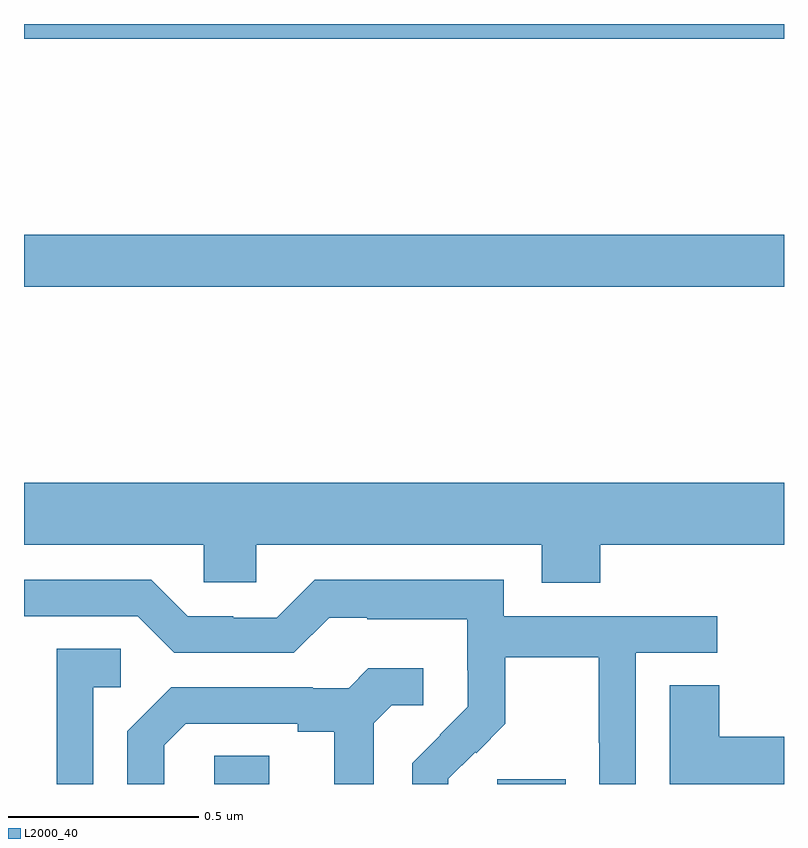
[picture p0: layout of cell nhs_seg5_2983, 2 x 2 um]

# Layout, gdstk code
import gdstk
lib = gdstk.Library(unit=1e-6, precision=1e-09)
def R(c, l, rs):  # rectangles x0, y0, x1, y1
    for r in rs: c.add(gdstk.rectangle(r[:2], r[2:], *l))
def P(c, l, *ps):  # polygons
    for p in ps: c.add(gdstk.Polygon(p, *l))
L2000_40 = (2000, 40)

nhs_seg5_2983 = lib.new_cell('nhs_seg5_2983')
R(nhs_seg5_2983, L2000_40, [(151.5,854.799,151.645,854.873), (152.246,854.799,152.425,854.811), (151,856.108,153,856.244), (151,856.76,153,856.799)])
P(nhs_seg5_2983, L2000_40, [(152.516,855.428),(153,855.428),(153,855.592),(151,855.592),(151,855.428),(151.473,855.428),(151.473,855.33),(151.611,855.33),(151.611,855.428),(152.363,855.428),(152.363,855.329),(152.516,855.329)],
  [(152.117,854.813),(152.187,854.883),(152.19,854.88),(152.267,854.957),(152.267,855.132),(152.512,855.132),(152.512,854.908),(152.514,854.908),(152.514,854.799),(152.61,854.799),(152.61,855.144),(152.824,855.144),(152.824,855.24),(152.262,855.24),(152.262,855.337),(151.765,855.337),(151.665,855.237),(151.55,855.237),(151.55,855.24),(151.431,855.24),(151.335,855.336),(151,855.336),(151,855.24),(151.299,855.24),(151.395,855.144),(151.71,855.144),(151.803,855.237),(151.903,855.237),(151.903,855.233),(152.166,855.233),(152.166,855.099),(152.168,855.099),(152.168,855.002),(152.094,854.928),(152.095,854.927),(152.022,854.854),(152.022,854.799),(152.117,854.799)],
  [(151.182,855.054),(151.255,855.054),(151.255,855.155),(151.086,855.155),(151.086,854.799),(151.182,854.799)],
  [(151.369,854.901),(151.426,854.958),(151.721,854.958),(151.721,854.936),(151.817,854.936),(151.817,854.799),(151.921,854.799),(151.921,854.959),(151.968,855.006),(152.05,855.006),(152.05,855.103),(151.906,855.103),(151.854,855.051),(151.76,855.051),(151.76,855.054),(151.388,855.054),(151.272,854.938),(151.272,854.799),(151.369,854.799)],
  [(153,854.923),(152.83,854.923),(152.83,855.059),(152.699,855.059),(152.699,854.799),(153,854.799)])

lib.write_gds('nhs_seg5_2983.gds')
